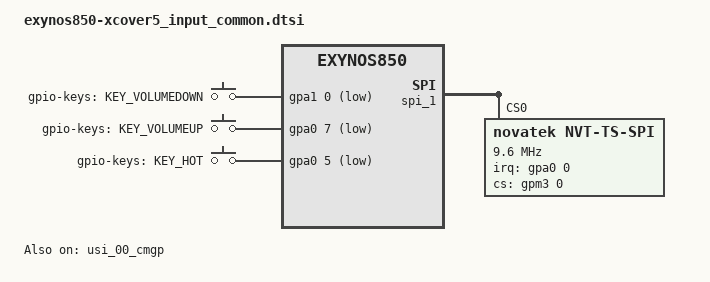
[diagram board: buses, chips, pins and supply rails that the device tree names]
/*
 * SAMSUNG EXYNOS850 board common device tree source
 *
 * Copyright (c) 2019 Samsung Electronics Co., Ltd.
 *		http://www.samsung.com
 *
 * This program is free software; you can redistribute it and/or modify
 * it under the terms of the GNU General Public License version 2 as
 * published by the Free Software Foundation.
 */

/ {
	fragment@common {
		target-path = "/";
		__overlay__ {
			#address-cells = <2>;
			#size-cells = <1>;

			gpio_keys {
				status = "okay";
				compatible = "gpio-keys";
				pinctrl-names = "default";
				pinctrl-0 = <&key_voldown &key_volup &key_hot>;

				button@1 {
					label = "gpio-keys: KEY_VOLUMEDOWN";
					linux,code = <114>;
					gpios = <&gpa1 0 0xf>;
				};
				button@2 {
					label = "gpio-keys: KEY_VOLUMEUP";
					linux,code = <115>;
					gpios = <&gpa0 7 0xf>;
				};
				button@3 {
					label = "gpio-keys: KEY_HOT";
					linux,code = <252>;
					gpios = <&gpa0 5 0xf>;
					gpio-key,wakeup = <1>;
				};
			};
		}; /* end of __overlay__ */
	}; /* end of fragment */
}; /* end of root */

&pinctrl_0 {
	key_voldown: key-voldown {
		samsung,pins = "gpa1-0";
		samsung,pin-function = <0xf>;
		samsung,pin-pud = <0>;
		samsung,pin-drv = <0>;
	};

	key_volup: key-volup {
		samsung,pins = "gpa0-7";
		samsung,pin-function = <0xf>;
		samsung,pin-pud = <0>;
		samsung,pin-drv = <0>;
	};

	key_hot: key-hot {
		samsung,pins = "gpa0-5";
		samsung,pin-function = <0xf>;
		samsung,pin-pud = <0>;
		samsung,pin-drv = <0>;
	};
};

&usi_00_cmgp {
		usi_v2_mode = "spi";
		status = "okay";
};

&pinctrl_0 {
	intr_on: intr-on {
		samsung,pins = "gpa0-0";
		samsung,pin-function = <0xf>;
		samsung,pin-pud = <0>;
		samsung,pin-drv = <0>;
	};

	intr_off: intr-off {
		samsung,pins = "gpa0-0";
		samsung,pin-function = <0>;
		samsung,pin-pud = <1>;
	};
};

&spi_1 {
	#address-cells = <1>;
	#size-cells = <0>;
	status = "okay";
	pinctrl-names = "on_state", "off_state";
	pinctrl-0 = <&spi1_bus &spi1_cs>;
	pinctrl-1 = <&spi1_sleep>;
	num-cs = <1>;

	/* Novatek device tree node */
	novatek@0 {
		status = "okay";
		compatible = "novatek,NVT-ts-spi";
		reg = <0>; //Same as CS ID
		spi-max-frequency = <9600000>;
		novatek,irq-gpio = <&gpa0 0 0x2002>;
		novatek,cs-gpio = <&gpm3 0 0>;
		pinctrl-names = "default", "on_state", "off_state";
		pinctrl-0 = <&intr_on &spi1_bus &spi1_cs>;
		pinctrl-1 = <&intr_on &spi1_bus &spi1_cs>;
		pinctrl-2 = <&intr_off &spi1_sleep>;
		novatek,resolution = <720 1480>;
		novatek,enable_settings_aot;
		novatek,enable_sysinput_enabled;
//		novatek,support_ear_detect_mode;
//		novatek,lcdtype = <0x0aa240>;
		novatek,fw_name = "tsp_novatek/nt36525_xcover5.bin";
		novatek,fw_name_mp = "tsp_novatek/nt36525_xcover5_mp.bin";
		novatek,regulator_lcd_vdd = "vdd_ldo28";
		novatek,regulator_lcd_reset = "gpio_lcd_rst";
		novatek,regulator_lcd_bl = "gpio_lcd_bl_en";

		/* 525 */
		//novatek,swrst-n8-addr = <0x01F01A>;

		/* 672A, 525B, 675, 526, 672C */
		novatek,swrst-n8-addr = <0x03F0FE>;
		novatek,spi-rd-fast-addr = <0x03F310>;

		/* MP */
		novatek,mp-support-dt;

		novatek-mp-criteria-7218@0 {
			#address-cells = <1>;
			#size-cells = <0>;
			compatible = "novatek-mp-criteria-7218";

			/* sec cmd test config */
			open_test_spec = <(-511) 5120>;
			short_test_spec = <10000 14008>;
			diff_test_frame = <50>;
			fdm_x_num = <2>;
		};

		controller-data {
//			cs-gpio = <&gpm3 0 0>;
			samsung,spi-feedback-delay = <0>;
		};
	};
};
